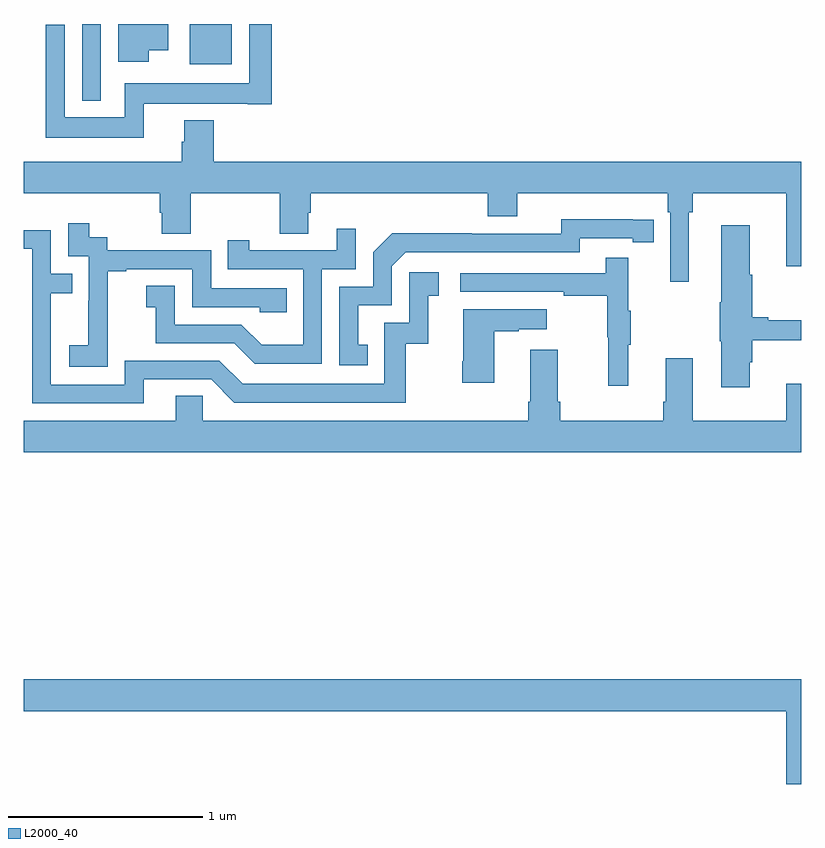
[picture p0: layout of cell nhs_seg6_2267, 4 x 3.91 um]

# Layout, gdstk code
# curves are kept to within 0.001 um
import gdstk
lib = gdstk.Library(unit=1e-6, precision=1e-09)
def R(c, l, rs):  # rectangles x0, y0, x1, y1
    for r in rs: c.add(gdstk.rectangle(r[:2], r[2:], *l))
def P(c, l, *ps):  # polygons
    for p in ps: c.add(gdstk.Polygon(p, *l))
L2000_40 = (2000, 40)

nhs_seg6_2267 = lib.new_cell('nhs_seg6_2267')
R(nhs_seg6_2267, L2000_40, [(245.301,989.105,245.397,989.5), (245.855,989.294,246.07,989.5)])
P(nhs_seg6_2267, L2000_40, [(245.618,989.09),(246.152,989.09),(246.152,989.088),(246.275,989.088),(246.275,989.5),(246.159,989.5),(246.159,989.194),(245.52,989.194),(245.52,989.02),(245.211,989.02),(245.211,989.497),(245.114,989.497),(245.114,988.916),(245.618,988.916)],
  [(245.644,989.366),(245.743,989.366),(245.743,989.5),(245.486,989.5),(245.486,989.307),(245.644,989.307)],
  [(245,988.628),(245.699,988.628),(245.699,988.53),(245.711,988.53),(245.711,988.42),(245.859,988.42),(245.859,988.628),(246.316,988.628),(246.316,988.42),(246.463,988.42),(246.463,988.53),(246.476,988.53),(246.476,988.628),(247.388,988.628),(247.388,988.511),(247.54,988.511),(247.54,988.628),(248.312,988.628),(248.312,988.532),(248.325,988.532),(248.325,988.173),(248.422,988.173),(248.422,988.532),(248.441,988.532),(248.441,988.628),(248.924,988.628),(248.924,988.254),(249,988.254),(249,988.792),(245.978,988.792),(245.978,989.005),(245.825,989.005),(245.825,988.893),(245.813,988.893),(245.813,988.792),(245,988.792)],
  [(246.77,987.849),(246.721,987.849),(246.721,988.053),(246.894,988.053),(246.894,988.254),(246.966,988.326),(247.86,988.326),(247.86,988.398),(248.132,988.398),(248.132,988.378),(248.24,988.378),(248.24,988.494),(247.764,988.495),(247.764,988.422),(247.304,988.422),(247.304,988.424),(246.896,988.424),(246.798,988.326),(246.798,988.149),(246.624,988.149),(246.624,987.744),(246.77,987.744)],
  [(245.433,987.943),(245.432,987.943),(245.432,988.227),(245.527,988.227),(245.527,988.239),(245.868,988.239),(245.868,988.044),(246.213,988.044),(246.213,988.017),(246.353,988.017),(246.353,988.14),(245.964,988.14),(245.964,988.335),(245.43,988.335),(245.43,988.404),(245.338,988.404),(245.338,988.474),(245.229,988.474),(245.229,988.305),(245.334,988.305),(245.334,988.076),(245.333,988.076),(245.333,987.847),(245.235,987.847),(245.235,987.737),(245.433,987.737)],
  [(248.734,987.761),(248.747,987.761),(248.747,987.874),(249,987.874),(249,987.977),(248.83,987.977),(248.83,987.992),(248.747,987.992),(248.747,988.211),(248.734,988.211),(248.734,988.465),(248.588,988.465),(248.588,988.069),(248.581,988.069),(248.581,987.869),(248.588,987.869),(248.588,987.63),(248.734,987.63)],
  [(246.534,988.239),(246.708,988.239),(246.708,988.447),(246.611,988.447),(246.611,988.335),(246.16,988.335),(246.16,988.387),(246.049,988.387),(246.049,988.239),(246.438,988.239),(246.438,987.85),(246.224,987.85),(246.12,987.954),(245.778,987.954),(245.778,988.153),(245.631,988.153),(245.631,988.043),(245.68,988.043),(245.68,987.858),(246.083,987.858),(246.188,987.753),(246.534,987.753)],
  [(245.617,987.672),(245.964,987.672),(246.084,987.552),(246.964,987.552),(246.964,987.855),(247.082,987.855),(247.082,988.101),(247.135,988.101),(247.135,988.222),(246.984,988.222),(246.984,987.963),(246.855,987.963),(246.855,987.648),(246.126,987.648),(246.006,987.768),(245.52,987.768),(245.52,987.645),(245.139,987.645),(245.139,988.114),(245.249,988.114),(245.249,988.215),(245.139,988.215),(245.139,988.44),(245,988.44),(245,988.344),(245.043,988.344),(245.043,987.549),(245.617,987.549)],
  [(248.111,987.851),(248.122,987.851),(248.122,988.025),(248.111,988.025),(248.111,988.297),(247.993,988.297),(247.993,988.218),(247.245,988.218),(247.245,988.122),(247.777,988.122),(247.777,988.102),(248.001,988.102),(248.001,987.888),(248.008,987.888),(248.008,987.639),(248.111,987.639)],
  [(247.42,987.919),(247.547,987.919),(247.547,987.929),(247.69,987.929),(247.69,988.033),(247.262,988.033),(247.262,987.766),(247.255,987.766),(247.255,987.654),(247.42,987.654)],
  [(249,987.649),(248.924,987.649),(248.924,987.46),(248.443,987.46),(248.443,987.781),(248.303,987.781),(248.303,987.556),(248.291,987.556),(248.291,987.46),(247.76,987.46),(247.76,987.556),(247.747,987.556),(247.747,987.823),(247.607,987.823),(247.607,987.556),(247.595,987.556),(247.595,987.46),(245.922,987.46),(245.922,987.587),(245.783,987.587),(245.783,987.46),(245,987.46),(245,987.296),(249,987.296)],
  [(249,986.128),(245,986.128),(245,985.964),(248.924,985.964),(248.924,985.59),(249,985.59)])

lib.write_gds('nhs_seg6_2267.gds')
